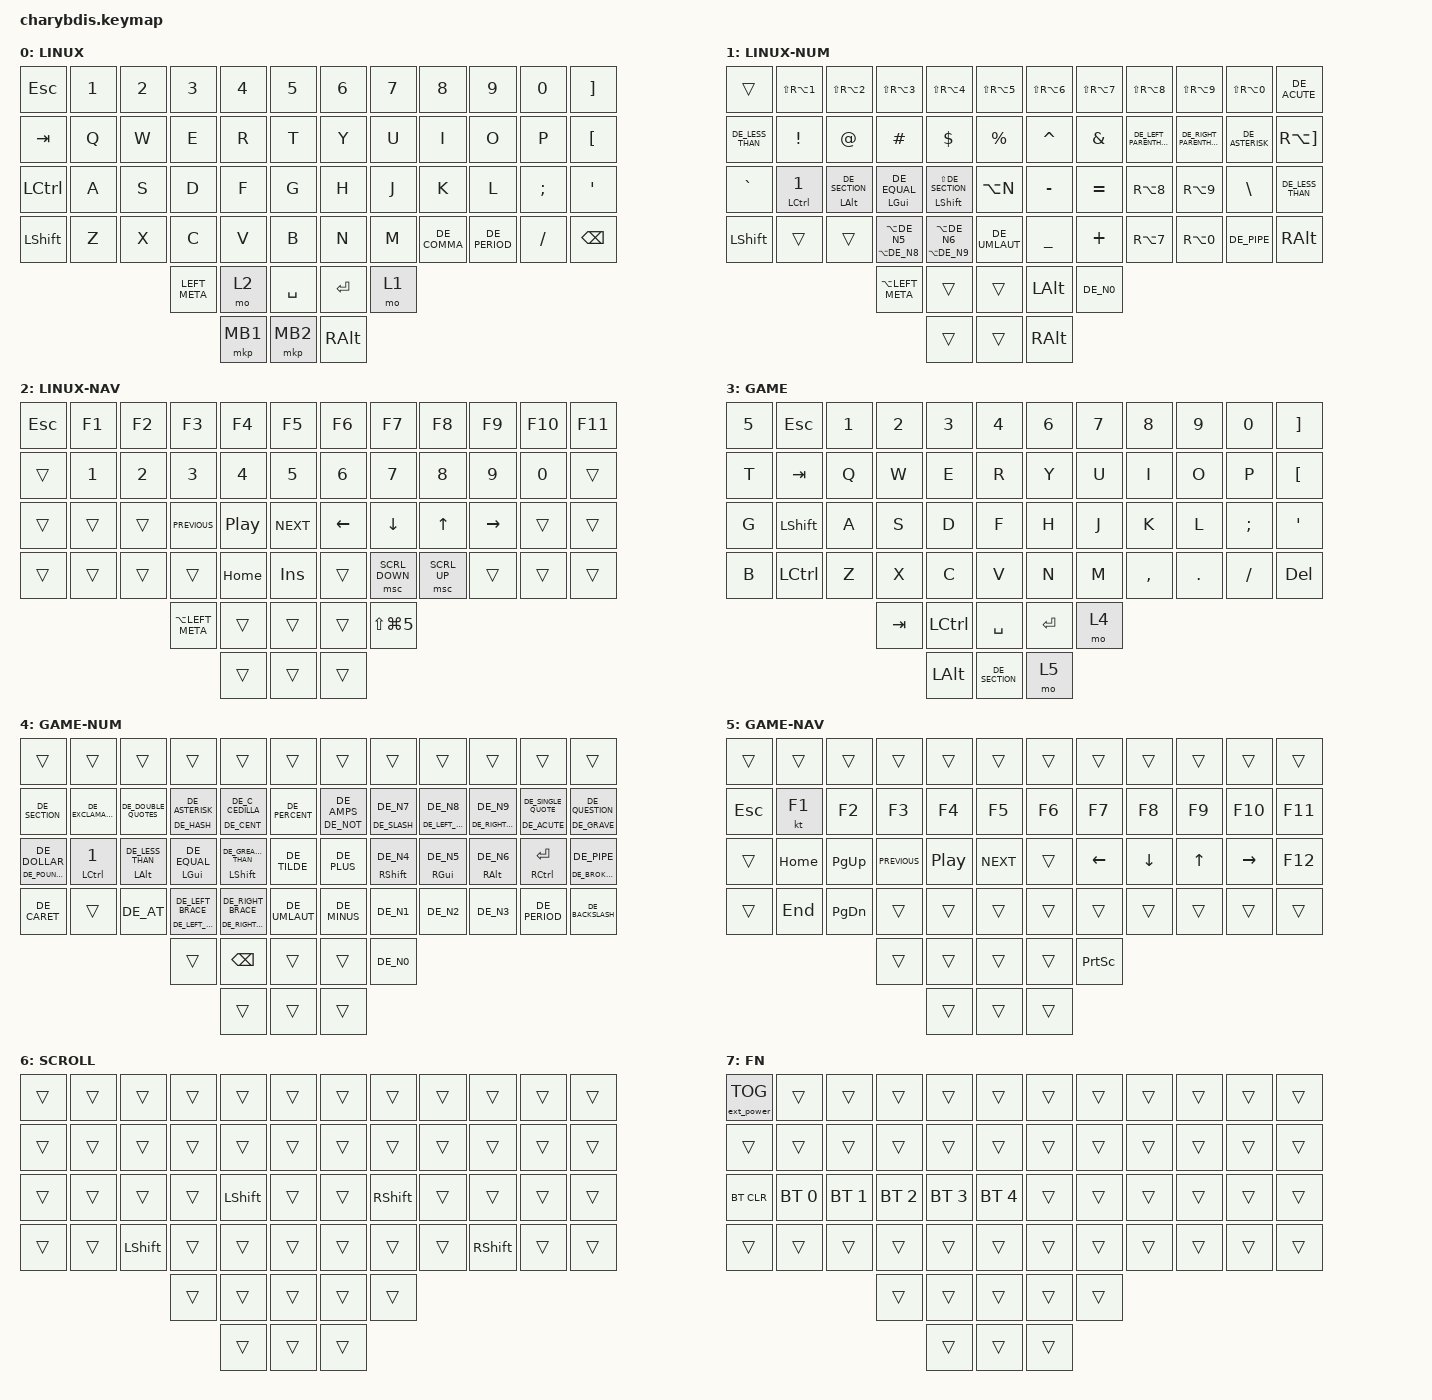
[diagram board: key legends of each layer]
#include "keys_de_swiss.h"
#include <dt-bindings/zmk/mouse.h>
#include <behaviors/mouse_keys.dtsi>
#include <behaviors.dtsi>
#include <dt-bindings/zmk/bt.h>
#include <dt-bindings/zmk/ext_power.h>
#include <dt-bindings/zmk/keys.h>
#include <dt-bindings/zmk/pointing.h>

// / {
//     chosen { zmk,matrix_transform = &default_transform; };
// };

/ {
    /* Note: trackball listeners are defined in the shield overlays
     * since the trackball is only present on the right half.
     * The keymap should not define them here to avoid linker errors
     * when building for the left half.
     */
    // #define QUERTZ    0
    // #define NUMBERS   1
    // #define NAV-FUN   2
    // #define MAC       3
    // #define MAC-NUM   4
    // #define MAC-NAV   5
    // #define GAME      6
    // #define GAME-NUM  7
    // #define GAME-NAV  8
    // #define SCROLL    9
    // #define SNIPER   10
    // #define FN       11

    combos {
        compatible = "zmk,combos";

        to-LINUX {
            bindings = <&to 0>;
            key-positions = <23 35>;
            layers = <3 7>;
        };

        to-GAME {
            bindings = <&to 3>;
            key-positions = <47 11>;
            layers = <0 7>;
        };

        to-FN {
            bindings = <&to 7>;
            key-positions = <42 41>;
            layers = <0 3>;
        };

        caps_word {
            bindings = <&caps_word>;
            key-positions = <31 28>;
        };

        rh_leftClick {
            bindings = <&mkp LCLK>;
            key-positions = <43 44>;
        };

        rh_rightClick {
            bindings = <&mkp RCLK>;
            key-positions = <44 45>;
        };

        rh_middleClick {
            bindings = <&mkp MCLK>;
            key-positions = <44 45 43>;
        };

        lh_leftClick {
            bindings = <&mkp LCLK>;
            key-positions = <40 39>;
        };

        lh_rightClick {
            bindings = <&mkp RCLK>;
            key-positions = <38 39>;
        };

        lh_middleClick {
            bindings = <&mkp MCLK>;
            key-positions = <38 39 40>;
        };

        CAPZ {
            bindings = <&kp CAPSLOCK>;
            key-positions = <24 25>;
        };

        left_alt {
            bindings = <&kp LEFT_ALT>;
            key-positions = <52 51>;
            layers = <0>;
        };
    };

    behaviors {
        hmr: hmr {
            compatible = "zmk,behavior-hold-tap";
            label = "HMR";
            bindings = <&kp>, <&kp>;

            #binding-cells = <2>;
            tapping-term-ms = <190>;
            quick-tap-ms = <175>;
            flavor = "balanced";
            hold-trigger-key-positions = <0 1 2 3 4 5 12 13 14 15 16 17 24 25 26 27 28 29 36 37 38 39 40 41 48 49 50 53 54 51 52 55>;
            hold-trigger-on-release;
        };

        hml: hml {
            compatible = "zmk,behavior-hold-tap";
            label = "HML";
            bindings = <&kp>, <&kp>;

            #binding-cells = <2>;
            tapping-term-ms = <190>;
            quick-tap-ms = <175>;
            flavor = "balanced";
            hold-trigger-key-positions = <48 49 50 53 54 51 52 55 6 7 8 9 10 11 18 19 20 21 22 23 30 31 32 33 34 35 42 43 44 45 46 47 51 52>;
            hold-trigger-on-release;
        };
    };

    keymap {
        compatible = "zmk,keymap";

        default_linux_layer {
            label = "LINUX";
            bindings = <
&kp ESCAPE        &kp N1  &kp N2  &kp N3         &kp N4    &kp N5       &kp N6         &kp N7  &kp N8        &kp N9         &kp N0     &kp RBKT
&kp TAB           &kp Q   &kp W   &kp E          &kp R     &kp T        &kp Y          &kp U   &kp I         &kp O          &kp P      &kp LBKT
&kp LEFT_CONTROL  &kp A   &kp S   &kp D          &kp F     &kp G        &kp H          &kp J   &kp K         &kp L          &kp SEMI   &kp APOSTROPHE
&kp LEFT_SHIFT    &kp Z   &kp X   &kp C          &kp V     &kp B        &kp N          &kp M   &kp DE_COMMA  &kp DE_PERIOD  &kp SLASH  &kp BACKSPACE
                                  &kp LEFT_META  &mo 2     &kp SPACE    &kp RETURN     &mo 1
                                                 &mkp MB1  &mkp MB2     &kp RIGHT_ALT
            >;
        };

        linux_raise_layer {
            label = "LINUX-NUM";
            bindings = <
&trans            &kp LS(RA(NUMBER_1))  &kp LS(RA(NUMBER_2))      &kp LS(RA(NUMBER_3))      &kp LS(RA(NUMBER_4))            &kp LS(RA(NUMBER_5))    &kp LS(RA(NUMBER_6))  &kp LS(RA(NUMBER_7))  &kp LS(RA(NUMBER_8))     &kp LS(RA(NUMBER_9))      &kp LS(RA(NUMBER_0))  &kp DE_ACUTE
&kp DE_LESS_THAN  &kp EXCLAMATION       &kp AT                    &kp HASH                  &kp DLLR                        &kp PERCENT             &kp CARET             &kp AMPERSAND         &kp DE_LEFT_PARENTHESIS  &kp DE_RIGHT_PARENTHESIS  &kp DE_ASTERISK       &kp RA(RIGHT_BRACKET)
&kp GRAVE         &hml LEFT_CONTROL N1  &hml LEFT_ALT DE_SECTION  &hml LEFT_GUI DE_EQUAL    &hml LEFT_SHIFT LS(DE_SECTION)  &kp LA(N)               &kp MINUS             &kp EQUAL             &kp RA(N8)               &kp RA(N9)                &kp BACKSLASH         &kp DE_LESS_THAN
&kp LEFT_SHIFT    &trans                &trans                    &hml LA(DE_N8) LA(DE_N5)  &hml LA(DE_N9) LA(DE_N6)        &kp DE_UMLAUT           &kp UNDER             &kp PLUS              &kp RA(N7)               &kp RA(N0)                &kp DE_PIPE           &kp RIGHT_ALT
                                                                  &kp LA(LEFT_META)         &trans                          &trans                  &kp LEFT_ALT          &kp DE_N0
                                                                                            &trans                          &trans                  &kp RIGHT_ALT
            >;
        };

        linux_lower_layer {
            label = "LINUX-NAV";
            bindings = <
&kp ESC  &kp F1        &kp F2        &kp F3             &kp F4            &kp F5          &kp F6          &kp F7                &kp F8        &kp F9           &kp F10       &kp F11
&trans   &kp NUMBER_1  &kp NUMBER_2  &kp NUMBER_3       &kp NUMBER_4      &kp NUMBER_5    &kp NUMBER_6    &kp NUMBER_7          &kp NUMBER_8  &kp NUMBER_9     &kp NUMBER_0  &trans
&trans   &trans        &trans        &kp C_PREVIOUS     &kp C_PLAY_PAUSE  &kp C_NEXT      &kp LEFT_ARROW  &kp DOWN_ARROW        &kp UP_ARROW  &kp RIGHT_ARROW  &trans        &trans
&trans   &trans        &trans        &trans             &kp HOME          &kp INSERT      &trans          &msc SCRL_DOWN        &msc SCRL_UP  &trans           &trans        &trans
                                     &kp LA(LEFT_META)  &trans            &trans          &trans          &kp LS(LG(NUMBER_5))
                                                        &trans            &trans          &trans
            >;
        };

        default_game_layer {
            label = "GAME";
            bindings = <
&kp NUMBER_5  &kp ESC           &kp N1  &kp N2   &kp N3            &kp NUMBER_4      &kp N6      &kp N7  &kp N8     &kp N9   &kp N0         &kp RIGHT_BRACKET
&kp T         &kp TAB           &kp Q   &kp W    &kp E             &kp R             &kp Y       &kp U   &kp I      &kp O    &kp P          &kp LEFT_BRACKET
&kp G         &kp LEFT_SHIFT    &kp A   &kp S    &kp D             &kp F             &kp H       &kp J   &kp K      &kp L    &kp SEMICOLON  &kp SINGLE_QUOTE
&kp B         &kp LEFT_CONTROL  &kp Z   &kp X    &kp C             &kp V             &kp N       &kp M   &kp COMMA  &kp DOT  &kp SLASH      &kp DELETE
                                        &kp TAB  &kp LEFT_CONTROL  &kp SPACE         &kp RETURN  &mo 4
                                                 &kp LEFT_ALT      &kp DE_SECTION    &mo 5
            >;
        };

        game_raise_layer {
            label = "GAME-NUM";
            bindings = <
&trans                        &trans                &trans                      &trans                              &trans                                &trans            &trans               &trans                  &trans                          &trans                           &trans                         &trans
&kp DE_SECTION                &kp DE_EXCLAMATION    &kp DE_DOUBLE_QUOTES        &hml DE_HASH DE_ASTERISK            &hml DE_CENT DE_C_CEDILLA             &kp DE_PERCENT    &hmr DE_NOT DE_AMPS  &hmr DE_SLASH DE_N7     &hmr DE_LEFT_PARENTHESIS DE_N8  &hmr DE_RIGHT_PARENTHESIS DE_N9  &hmr DE_ACUTE DE_SINGLE_QUOTE  &hmr DE_GRAVE DE_QUESTION
&hml DE_POUND_SIGN DE_DOLLAR  &hml LEFT_CONTROL N1  &hml LEFT_ALT DE_LESS_THAN  &hml LEFT_GUI DE_EQUAL              &hml LEFT_SHIFT DE_GREATER_THAN       &kp DE_TILDE      &kp DE_PLUS          &hmr RIGHT_SHIFT DE_N4  &hmr RIGHT_GUI DE_N5            &hmr RIGHT_ALT DE_N6             &hmr RIGHT_CONTROL ENTER       &hmr DE_BROKEN_BAR DE_PIPE
&kp DE_CARET                  &trans                &kp DE_AT                   &hml DE_LEFT_BRACKET DE_LEFT_BRACE  &hml DE_RIGHT_BRACKET DE_RIGHT_BRACE  &kp DE_UMLAUT     &kp DE_MINUS         &kp DE_N1               &kp DE_N2                       &kp DE_N3                        &kp DE_PERIOD                  &kp DE_BACKSLASH
                                                                                &trans                              &kp BACKSPACE                         &trans            &trans               &kp DE_N0
                                                                                                                    &trans                                &trans            &trans
            >;
        };

        game_lower_layer {
            label = "GAME-NAV";
            bindings = <
&trans      &trans    &trans         &trans          &trans            &trans        &trans  &trans           &trans          &trans        &trans           &trans
&kp ESCAPE  &kt F1    &kp F2         &kp F3          &kp F4            &kp F5        &kp F6  &kp F7           &kp F8          &kp F9        &kp F10          &kp F11
&trans      &kp HOME  &kp PAGE_UP    &kp C_PREVIOUS  &kp C_PLAY_PAUSE  &kp C_NEXT    &trans  &kp LEFT_ARROW   &kp DOWN_ARROW  &kp UP_ARROW  &kp RIGHT_ARROW  &kp F12
&trans      &kp END   &kp PAGE_DOWN  &trans          &trans            &trans        &trans  &trans           &trans          &trans        &trans           &trans
                                     &trans          &trans            &trans        &trans  &kp PRINTSCREEN
                                                     &trans            &trans        &trans
            >;
        };

        scroll_layer {
            bindings = <
&trans  &trans  &trans          &trans  &trans          &trans    &trans  &trans           &trans  &trans           &trans  &trans
&trans  &trans  &trans          &trans  &trans          &trans    &trans  &trans           &trans  &trans           &trans  &trans
&trans  &trans  &trans          &trans  &kp LEFT_SHIFT  &trans    &trans  &kp RIGHT_SHIFT  &trans  &trans           &trans  &trans
&trans  &trans  &kp LEFT_SHIFT  &trans  &trans          &trans    &trans  &trans           &trans  &kp RIGHT_SHIFT  &trans  &trans
                                &trans  &trans          &trans    &trans  &trans
                                        &trans          &trans    &trans
            >;

            label = "SCROLL";
        };

        keeb_pref_layer {
            label = "FN";
            bindings = <
&ext_power EP_TOG  &trans        &trans        &trans        &trans        &trans          &trans  &trans  &trans  &trans  &trans  &trans
&trans             &trans        &trans        &trans        &trans        &trans          &trans  &trans  &trans  &trans  &trans  &trans
&bt BT_CLR         &bt BT_SEL 0  &bt BT_SEL 1  &bt BT_SEL 2  &bt BT_SEL 3  &bt BT_SEL 4    &trans  &trans  &trans  &trans  &trans  &trans
&trans             &trans        &trans        &trans        &trans        &trans          &trans  &trans  &trans  &trans  &trans  &trans
                                               &trans        &trans        &trans          &trans  &trans
                                                             &trans        &trans          &trans
            >;
        };
    };
};
